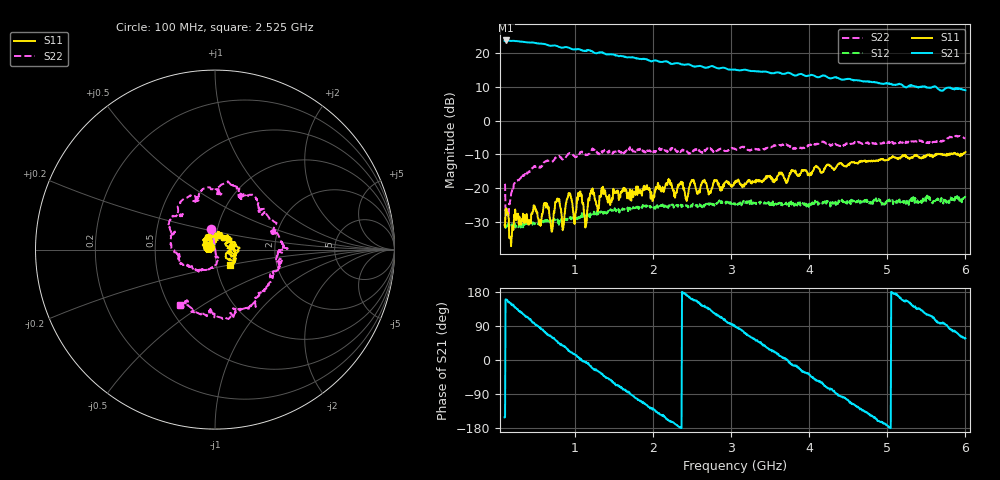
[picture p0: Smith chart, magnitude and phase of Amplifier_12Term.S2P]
!Created with skrf (http://scikit-rf.org).
# MHz S RI R 50.0
!freq ReS11 ImS11 ReS21 ImS21 ReS12 ImS12 ReS22 ImS22
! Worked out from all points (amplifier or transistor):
!   1001 points, 100 MHz to 6 GHz, reference 50 ohm
!   highest |S21| = 23.7 dB at 117.7 MHz (marker M1)
!   |S21| within 3 dB of that: start of sweep to 1.095 GHz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
!   unconditionally stable (mu >= 1): start of sweep to end of sweep
!   at 1.079 GHz: K = 1.26, MAG = 21.6 dB, |S12| = -28.6 dB
!   at 3.05 GHz: K = 1.42, MAG = 15.9 dB, |S12| = -24.5 dB
!   at 6 GHz: K = 1.66, MAG = 10.9 dB, |S12| = -22.4 dB
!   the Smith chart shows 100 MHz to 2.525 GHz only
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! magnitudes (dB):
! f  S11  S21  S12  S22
! 100 MHz  -30.9  23.6  -31.2  -18.7
! 117.7 MHz  -26.7  23.7  -31.2  -27.0
! 141.3 MHz  -27.5  23.7  -30.6  -27.3
! 188.5 MHz  -35.3  23.6  -30.8  -21.1
! 247.5 MHz  -29.4  23.5  -31.2  -18.1
! 554.3 MHz  -29.5  22.8  -30.2  -13.5
! 631 MHz  -25.7  22.5  -29.9  -12.1
! 707.7 MHz  -32.8  22.2  -29.8  -12.2
! 772.6 MHz  -23.1  22.1  -29.8  -10.6
! 843.4 MHz  -32.4  21.6  -29.4  -11.5
! 920.1 MHz  -21.4  21.6  -28.7  -9.7
! 990.9 MHz  -29.9  21.1  -28.6  -10.4
! 1.085 GHz  -21.9  20.9  -28.5  -9.1
! 1.138 GHz  -31.4  20.6  -27.8  -10.0
! 1.221 GHz  -20.5  20.5  -27.9  -8.4
! 1.28 GHz  -25.2  19.9  -26.9  -9.2
! 1.363 GHz  -20.1  20.1  -27.6  -9.1
! 2.071 GHz  -19.3  17.5  -25.0  -8.8
! 3.05 GHz  -18.5  15.1  -24.5  -8.4
! 4.035 GHz  -15.5  13.5  -24.7  -7.0
! 5.021 GHz  -11.2  11.0  -23.5  -6.6
! 6 GHz  -9.3  9.0  -22.4  -5.3
